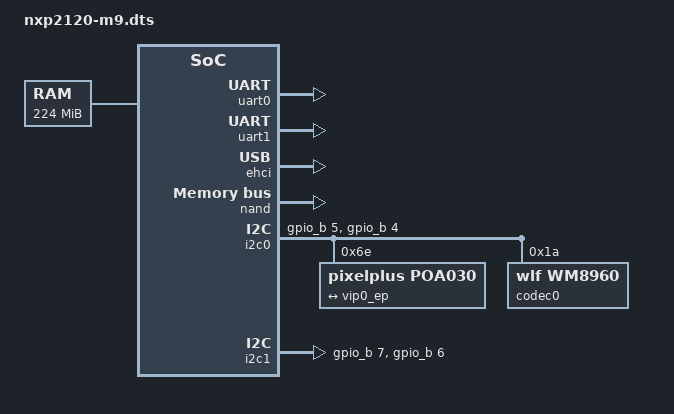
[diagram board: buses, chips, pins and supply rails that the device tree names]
/*
 * Copyright (C) 2019 I4VINE
 * Author: Juyoung Ryu <jyryu@i4vine.com>	
 * 
 *
 * This program is free software; you can redistribute it and/or
 * modify it under the terms of the GNU General Public License
 * as published by the Free Software Foundation; either version 2
 * of the License, or (at your option) any later version.
 *
 * This program is distributed in the hope that it will be useful,
 * but WITHOUT ANY WARRANTY; without even the implied warranty of
 * MERCHANTABILITY or FITNESS FOR A PARTICULAR PURPOSE.  See the
 * GNU General Public License for more details.
 *
 * You should have received a copy of the GNU General Public License
 * along with this program.  If not, see <http://www.gnu.org/licenses/>.
 */
/dts-v1/; 
#include "nxp2120.dtsi"

/{
	chosen {
	};
	
	memory {
		device_type = "memory";
		reg = <0x80000000 0x0E000000>;/*0x10000000>;*/
	};
	
	soc{
		#include "nxp2120-pinctrl.dtsi"
		uart0: uart@C0016000 {
			id = <0>;
			status = "okay";
		};
		
		uart1: uart@C0016080 {
			id = <1>;
			status = "okay";
		};
		
		ehci: usb@C000D000 {
			status = "okay";
		};	
		
		audio: audio@C00D8000 {
			status = "okay";
		};
		
		scaler: scaler@C0003800 {
			status = "okay";
		};
		
		vip0: vip@C0002800 {
			status = "okay";
			gpio_reset-gpios = <&gpio_a 4 0>;
			id = <0>;
			source_sel = <0>;
			use_scaler = <0>;

			port {
				vip0_ep: endpoint {
					remote-endpoint = <&poa030>;
					data_order = <0>; 
					external_sync = <0>;
					h_frontporch = <4>;
					h_syncwidth = <4>;
					h_backporch = <4>;
					v_frontporch = <1>;
					v_syncwidth = <1>;
					v_backporch = <1>;
					clock_invert = <0>;
					interlace = <0>;
					power_enable = <0>;// camera_power_enable;
					max_width = <640>;
					max_height = <480>;	
					def_width = <320>;
					def_height = <240>;	
					/*hor_align = <1>;
					ver_align = <1>;*/
					buff_count = <4>;
					skip_count = <3>;
					time_stamp_on = <0>;

				};
			};
		
		};
		
		vip1: vip@C0010800 {
			status = "disabled";	
			gpio_reset-gpios = <&gpio_a 28 0>;
			id = <1>;
			source_sel = <0>;
			use_scaler = <1>;
			data_order = <0>; 
			port {
			/*	vip1_ep: endpoint {
					remote-endpoint = <&poa030_2>;
					hor_align = <1>;
					ver_align = <1>;
					buff_count = <4>;
					skip_count = <3>;
					time_stamp_on = <0>;

				};*/
			};
		};		
		
		mcus:mcus@C0015800 {
			status = "okay";
			static_0 {
				bus_width = <8>;
				tACS = <1>;
				tCOS = <1>;
				tACC = <6>;
				tSACC = <6>;
				tOCH = <1>;
				tCAH = <1>;
				wm   = <1>;
				rb   = <0>;
				wb   = <0>;                   
			};
		
			static_1 {
				bus_width = <16>;
				tACS = <3>;
				tCOS = <3>;
				tACC = <16>;
				tSACC = <16>;
				tOCH = <3>;
				tCAH = <3>;
				wm   = <1>;
				rb   = <0>;
				wb   = <0>;
			};
	
			nand {
				bus_width = <8>;
				tACS = <0>;
				tCOS = <1>;
				tACC = <7>;
				tSACC = <7>;
				tOCH = <1>;
				tCAH = <1>;
				wm   = <1>;
				rb   = <0>;
				wb   = <0>;
			};
		};

		nand: nand@C001587C {
			chip-delay = <15>;
			ecc-size = <512>;
			ecc-strength = <4>;
			status = "okay";

			partitions {
				/* for256M nand */
				compatible = "fixed-partitions";
				#address-cells = <1>;
				#size-cells = <1>;

				partition@0 {
				        label = "bootloader";
				        reg = <0x00000000 0x00100000>;
				        read-only;
				};
				partition@100000 {
				        label = "kernel";
				        reg = <0x00100000 0x00500000>;
				        read-only;
				};
				partition@600000 {
				        label = "rootfs";
				        reg = <0x00600000 0x00A00000>; /* 0x00400000 */
				};
				partition@1000000 {
				        label = "userfs";
				        reg = <0x01000000 0x0F000000>; /* 0x00A00000 */
				};
				/*partition@500000 {
				        label = "rootfs";
				        reg = <0x00600000 0x1FA00000>; // 0x00A00000 
				};*/
				/*partition@1000000 {
				        label = "userfs";
				        reg = <0x01000000 0x03000000>;
				};
				partition@4000000 {
				        label = "local";
				        reg = <0x04000000 0x03A00000>;
				};
				partition@7A00000 {
				        label = "rollback";
				        reg = <0x07A00000 0x03000000>;
				};
				partition@AA00000 {
				        label = "data";
				        reg = <0x0AA00000 0x15600000>;
				};*/
			};
		};
	};
	
	tim: tim@0 {
		compatible = "nexell,nxp2120-tim";
		status = "okay";
		clksource = <0>;
		clkevent = <1>;
		timer =  <&timer0>, <&timer1>;
		timer-names = "timer source", "timer event";
	};

	sound {
		compatible = "nexell,nxp2120-wm8960";
		model = "wm8960-audio";
		status = "okay";
		i2s-controller = <&audio>;
		audio-codec0 = <&codec0>;
		audio-routing =
			"Headphone Jack", "HP_L",
			"Headphone Jack", "HP_R",
			"Ext Spk", "SPK_LP",
			"Ext Spk", "SPK_LN",
			"AMIC", "LINPUT1",
			"AMIC", "RINPUT1";
	};
};

&i2c0 {
	gpios = <&gpio_b 5 0 /* sda */
			&gpio_b 4 0 /* scl */>;
	#address-cells = <1>;
	#size-cells = <0>;
			
	status = "okay";
	
	poa030@6E {
		compatible = "pixelplus,poa030";
		reg = <0x6E>;
/*		monochrome = <1>;
		def_ae = <1>;
		def_exposure = <128>;*/


		port {
			poa030:endpoint{
				remote-endpoint = <&vip0_ep>;			
			};
		};
	};	
	
	codec0: wm8960@1a {
		compatible = "wlf,wm8960";
		reg = <0x1a>;
		wlf,shared-lrclk;
		clocks = <&audclk0>;
		clock-names = "mclk";
	};
};

&i2c1 {
	gpios = <&gpio_b 7 0 /* sda */
			&gpio_b 6 0 /* scl */>;	
	#address-cells = <1>;
	#size-cells = <0>;			
	
	status = "okay";
	

	/*poa030@6E {
		compatible = "pixelplus,poa030";
		reg = <0x6E>;
		monochrome = <1>;
		def_ae = <1>;
		def_width = <320>;
		def_height = <240>;
		def_exposure = <128>;
		port {
			poa030_0:endpoint{
				remote-endpoint = <&vip0_ep>;
			};
		};
	};*/
};
/*
&vip0 {
	status = "okay";

	port {
		vip0_ep: endpoint {
			remote-endpoint = <&poa030_0>;
			module = <0>;
			sensor = <0>;
			type = <0>; //NXP_CAPTURE_INF_PARALLEL;
			is_mipi = <0>;
			external_sync = <0>;
			h_active = <640>;
			h_frontporch = <4>;
			h_syncwidth = <4>;
			h_backporch = <4>;
			v_active = <480>;
			v_frontporch = <1>;
			v_syncwidth = <1>;
			v_backporch = <1>;
			clock_invert = <0>;
			monochrome = <1>;
			port = <1>; // NX_VIP_INPUTPORT_B;
			data_order = <2>; // NXP_VIN_CBY0CRY1;
			interlace = <0>;
			clk_rate = <27000000>;
			late_power_down = <0>;
			power_enable = <1>; // camera_power_enable;
			set_clock = <1>; // camera_set_clock;
			max_width = <640>;
			max_height = <480>;
			seqfunc_type = <1>;   // this is laser_seqfunc 
			setup_io = <0>; // NULL;
			start_delay_ms = <0>;
			stop_delay_ms = <0>;
			clk_src = <5>;  // port=0 =>4, port=1 =>5
			clk_div = <0>;
		};
	};
};
*/
